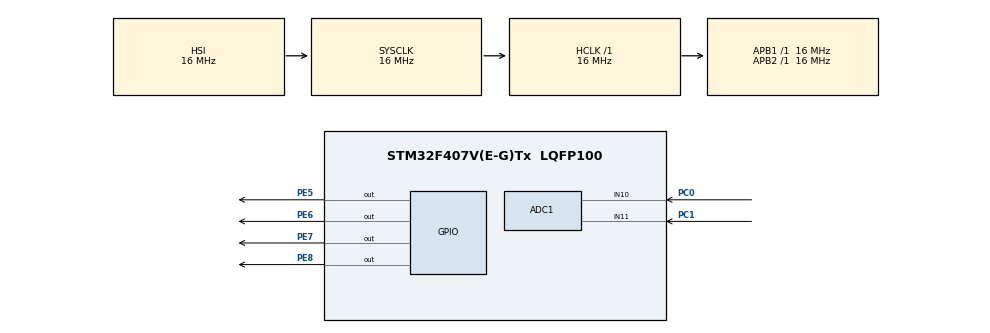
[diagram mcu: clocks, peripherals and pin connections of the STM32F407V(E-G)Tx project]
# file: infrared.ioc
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ADC1.Channel-0\#ChannelRegularConversion=ADC_CHANNEL_10
ADC1.Channel-1\#ChannelRegularConversion=ADC_CHANNEL_11
ADC1.ContinuousConvMode=ENABLE
ADC1.DMAContinuousRequests=DISABLE
ADC1.NbrOfConversion=2
ADC1.NbrOfConversionFlag=1
ADC1.Rank-0\#ChannelRegularConversion=1
ADC1.Rank-1\#ChannelRegularConversion=2
ADC1.SamplingTime-0\#ChannelRegularConversion=ADC_SAMPLETIME_3CYCLES
ADC1.SamplingTime-1\#ChannelRegularConversion=ADC_SAMPLETIME_3CYCLES
ADC1.ScanConvMode=ENABLE
ADC1.master=1
Dma.ADC1.0.Direction=DMA_PERIPH_TO_MEMORY
Dma.ADC1.0.FIFOMode=DMA_FIFOMODE_DISABLE
Dma.ADC1.0.Instance=DMA2_Stream0
Dma.ADC1.0.MemDataAlignment=DMA_MDATAALIGN_HALFWORD
Dma.ADC1.0.MemInc=DMA_MINC_ENABLE
Dma.ADC1.0.Mode=DMA_CIRCULAR
Dma.ADC1.0.PeriphDataAlignment=DMA_PDATAALIGN_HALFWORD
Dma.ADC1.0.PeriphInc=DMA_PINC_DISABLE
Dma.ADC1.0.Priority=DMA_PRIORITY_LOW
Dma.Request0=ADC1
FREERTOS.Tasks01=defaultTask,24,128,StartDefaultTask,Default,NULL,Dynamic,NULL,NULL;InfraredTask,9,128,infrared_task,Default,NULL,Dynamic,NULL,NULL;OLEDTask,8,128,oled_task,Default,NULL,Dynamic,NULL,NULL
FREERTOS.configUSE_NEWLIB_REENTRANT=1
Mcu.Family=STM32F4
Mcu.Name=STM32F407V(E-G)Tx
Mcu.Package=LQFP100
NVIC.DMA2_Stream0_IRQn=true\:5\:0\:false\:false\:true\:true\:false\:true
NVIC.PriorityGroup=NVIC_PRIORITYGROUP_4
NVIC.TIM6_DAC_IRQn=true\:15\:0\:false\:false\:true\:false\:false\:true
NVIC.TimeBase=TIM6_DAC_IRQn
NVIC.TimeBaseIP=TIM6
PC0.Signal=ADCx_IN10
PC1.Signal=ADCx_IN11
PE5.Signal=GPIO_Output
PE6.Signal=GPIO_Output
PE7.Signal=GPIO_Output
PE8.Signal=GPIO_Output
ProjectManager.HeapSize=0x200
ProjectManager.StackSize=0x400
ProjectManager.TargetToolchain=STM32CubeIDE
RCC.AHBFreq_Value=16000000
RCC.APB1Freq_Value=16000000
RCC.APB2Freq_Value=16000000
RCC.CortexFreq_Value=16000000
RCC.HSE_VALUE=25000000
RCC.HSI_VALUE=16000000
RCC.LSE_VALUE=32768
RCC.SYSCLKFreq_VALUE=16000000
RCC.VCOOutputFreq_Value=192000000
SH.ADCx_IN10.0=ADC1_IN10,IN10
SH.ADCx_IN11.0=ADC1_IN11,IN11
VP_FREERTOS_VS_CMSIS_V2.Mode=CMSIS_V2
VP_SYS_VS_tim6.Mode=TIM6
board=custom

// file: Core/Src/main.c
/* USER CODE BEGIN Header */
/**
  ******************************************************************************
  * @file           : main.c
  * @brief          : Read values from the Infrared range sensor. There are two
  * 				  main ways to do it. The first is using Scan conversion and to use a flag to indicate that
  * 				  an ADC conversion has been completed. The reading is then read,
  * 				  and a call to HAL_ADC_Start_DMA is used to start again.
  * 				  The second is to use scan conversion and continous conversion with a ping-pong buffer.
  ******************************************************************************
  * @attention
  *
  * Copyright (c) 2022 STMicroelectronics.
  * All rights reserved.
  *
  * This software is licensed under terms that can be found in the LICENSE file
  * in the root directory of this software component.
  * If no LICENSE file comes with this software, it is provided AS-IS.
  *
  ******************************************************************************
  */
/* USER CODE END Header */
#include "main.h"
#include "cmsis_os.h"

/* USER CODE BEGIN Includes */
#include <string.h>
#include <stdio.h>
#include <math.h>
#include "oled.h"
/* USER CODE END Includes */

/* USER CODE BEGIN PD */
#define ADC_REF 3.3
#define ADC_STEPS 4096
/* USER CODE END PD */

ADC_HandleTypeDef hadc1;
DMA_HandleTypeDef hdma_adc1;

/* Definitions for defaultTask */
osThreadId_t defaultTaskHandle;
const osThreadAttr_t defaultTask_attributes = {
  .name = "defaultTask",
  .stack_size = 128 * 4,
  .priority = (osPriority_t) osPriorityNormal,
};
/* Definitions for InfraredTask */
osThreadId_t InfraredTaskHandle;
const osThreadAttr_t InfraredTask_attributes = {
  .name = "InfraredTask",
  .stack_size = 128 * 4,
  .priority = (osPriority_t) osPriorityLow1,
};
/* Definitions for OLEDTask */
osThreadId_t OLEDTaskHandle;
const osThreadAttr_t OLEDTask_attributes = {
  .name = "OLEDTask",
  .stack_size = 128 * 4,
  .priority = (osPriority_t) osPriorityLow,
};

void SystemClock_Config(void);
static void MX_GPIO_Init(void);
static void MX_DMA_Init(void);
static void MX_ADC1_Init(void);
void StartDefaultTask(void *argument);
void infrared_task(void *argument);
void oled_task(void *argument);

/* USER CODE BEGIN 0 */
char buf[50];
uint8_t uart_buf_len;

volatile uint16_t adcResultsDMA[20];
volatile uint16_t ir_sensor_a_sum;
volatile uint16_t ir_sensor_b_sum;
const int adcChannelCount = sizeof(adcResultsDMA) / sizeof(adcResultsDMA[0]);
//volatile int adcConversionComplete = 0;

//int simple_read(void)
//{
//	  HAL_ADC_Start(&hadc1);
//	  HAL_ADC_PollForConversion(&hadc1, HAL_MAX_DELAY);
//	  uint16_t raw = HAL_ADC_GetValue(&hadc1);
//	  float voltage = raw * ADC_REF / ADC_STEPS;
//	  return (int)(29.988 * pow(voltage, -1.173));
//}

uint16_t adc_to_distance(uint16_t raw)
{
	  float voltage = raw * ADC_REF / ADC_STEPS;
	  return (uint16_t)(29.988 * pow(voltage, -1.173));
}

/* USER CODE END 0 */

int main(void)
{

  /* MCU Configuration--------------------------------------------------------*/

  /* Reset of all peripherals, Initializes the Flash interface and the Systick. */
  HAL_Init();

  /* Configure the system clock */
  SystemClock_Config();

  /* Initialize all configured peripherals */
  MX_GPIO_Init();
  MX_DMA_Init();
  MX_ADC1_Init();

  /* Init scheduler */
  osKernelInitialize();

  /* Create the thread(s) */
  /* creation of defaultTask */
  defaultTaskHandle = osThreadNew(StartDefaultTask, NULL, &defaultTask_attributes);

  /* creation of InfraredTask */
  InfraredTaskHandle = osThreadNew(infrared_task, NULL, &InfraredTask_attributes);

  /* creation of OLEDTask */
  OLEDTaskHandle = osThreadNew(oled_task, NULL, &OLEDTask_attributes);

  /* Start scheduler */
  osKernelStart();

  /* We should never get here as control is now taken by the scheduler */
  /* Infinite loop */
  while (1)
  {

  }
}

void SystemClock_Config(void)
{
  RCC_OscInitTypeDef RCC_OscInitStruct = {0};
  RCC_ClkInitTypeDef RCC_ClkInitStruct = {0};

  /** Configure the main internal regulator output voltage
  */
  __HAL_RCC_PWR_CLK_ENABLE();
  __HAL_PWR_VOLTAGESCALING_CONFIG(PWR_REGULATOR_VOLTAGE_SCALE1);
  /** Initializes the RCC Oscillators according to the specified parameters
  * in the RCC_OscInitTypeDef structure.
  */
  RCC_OscInitStruct.OscillatorType = RCC_OSCILLATORTYPE_HSI;
  RCC_OscInitStruct.HSIState = RCC_HSI_ON;
  RCC_OscInitStruct.HSICalibrationValue = RCC_HSICALIBRATION_DEFAULT;
  RCC_OscInitStruct.PLL.PLLState = RCC_PLL_NONE;
  if (HAL_RCC_OscConfig(&RCC_OscInitStruct) != HAL_OK)
  {
    Error_Handler();
  }
  /** Initializes the CPU, AHB and APB buses clocks
  */
  RCC_ClkInitStruct.ClockType = RCC_CLOCKTYPE_HCLK|RCC_CLOCKTYPE_SYSCLK
                              |RCC_CLOCKTYPE_PCLK1|RCC_CLOCKTYPE_PCLK2;
  RCC_ClkInitStruct.SYSCLKSource = RCC_SYSCLKSOURCE_HSI;
  RCC_ClkInitStruct.AHBCLKDivider = RCC_SYSCLK_DIV1;
  RCC_ClkInitStruct.APB1CLKDivider = RCC_HCLK_DIV1;
  RCC_ClkInitStruct.APB2CLKDivider = RCC_HCLK_DIV1;

  if (HAL_RCC_ClockConfig(&RCC_ClkInitStruct, FLASH_LATENCY_0) != HAL_OK)
  {
    Error_Handler();
  }
}

static void MX_ADC1_Init(void)
{

  ADC_ChannelConfTypeDef sConfig = {0};

  /** Configure the global features of the ADC (Clock, Resolution, Data Alignment and number of conversion)
  */
  hadc1.Instance = ADC1;
  hadc1.Init.ClockPrescaler = ADC_CLOCK_SYNC_PCLK_DIV2;
  hadc1.Init.Resolution = ADC_RESOLUTION_12B;
  hadc1.Init.ScanConvMode = ENABLE;
  hadc1.Init.ContinuousConvMode = ENABLE;
  hadc1.Init.DiscontinuousConvMode = DISABLE;
  hadc1.Init.ExternalTrigConvEdge = ADC_EXTERNALTRIGCONVEDGE_NONE;
  hadc1.Init.ExternalTrigConv = ADC_SOFTWARE_START;
  hadc1.Init.DataAlign = ADC_DATAALIGN_RIGHT;
  hadc1.Init.NbrOfConversion = 2;
  hadc1.Init.DMAContinuousRequests = DISABLE;
  hadc1.Init.EOCSelection = ADC_EOC_SINGLE_CONV;
  if (HAL_ADC_Init(&hadc1) != HAL_OK)
  {
    Error_Handler();
  }
  /** Configure for the selected ADC regular channel its corresponding rank in the sequencer and its sample time.
  */
  sConfig.Channel = ADC_CHANNEL_10;
  sConfig.Rank = 1;
  sConfig.SamplingTime = ADC_SAMPLETIME_3CYCLES;
  if (HAL_ADC_ConfigChannel(&hadc1, &sConfig) != HAL_OK)
  {
    Error_Handler();
  }
  /** Configure for the selected ADC regular channel its corresponding rank in the sequencer and its sample time.
  */
  sConfig.Channel = ADC_CHANNEL_11;
  sConfig.Rank = 2;
  if (HAL_ADC_ConfigChannel(&hadc1, &sConfig) != HAL_OK)
  {
    Error_Handler();
  }

}

static void MX_DMA_Init(void)
{

  /* DMA controller clock enable */
  __HAL_RCC_DMA2_CLK_ENABLE();

  /* DMA interrupt init */
  /* DMA2_Stream0_IRQn interrupt configuration */
  HAL_NVIC_SetPriority(DMA2_Stream0_IRQn, 5, 0);
  HAL_NVIC_EnableIRQ(DMA2_Stream0_IRQn);

}

static void MX_GPIO_Init(void)
{
  GPIO_InitTypeDef GPIO_InitStruct = {0};

  /* GPIO Ports Clock Enable */
  __HAL_RCC_GPIOE_CLK_ENABLE();
  __HAL_RCC_GPIOC_CLK_ENABLE();

  /*Configure GPIO pin Output Level */
  HAL_GPIO_WritePin(GPIOE, GPIO_PIN_5|GPIO_PIN_6|GPIO_PIN_7|GPIO_PIN_8, GPIO_PIN_RESET);

  /*Configure GPIO pins : PE5 PE6 PE7 PE8 */
  GPIO_InitStruct.Pin = GPIO_PIN_5|GPIO_PIN_6|GPIO_PIN_7|GPIO_PIN_8;
  GPIO_InitStruct.Mode = GPIO_MODE_OUTPUT_PP;
  GPIO_InitStruct.Pull = GPIO_NOPULL;
  GPIO_InitStruct.Speed = GPIO_SPEED_FREQ_LOW;
  HAL_GPIO_Init(GPIOE, &GPIO_InitStruct);

}

/* USER CODE BEGIN 4 */

void HAL_ADC_ConvHalfCpltCallback(ADC_HandleTypeDef* hadc)
{
	ir_sensor_a_sum = adcResultsDMA[0] + adcResultsDMA[2] + adcResultsDMA[4] + adcResultsDMA[6] + adcResultsDMA[8];
	ir_sensor_b_sum = adcResultsDMA[1] + adcResultsDMA[3] + adcResultsDMA[5] + adcResultsDMA[7] + adcResultsDMA[9];
}

void HAL_ADC_ConvCpltCallback(ADC_HandleTypeDef* hadc)
{
	ir_sensor_a_sum = adcResultsDMA[10] + adcResultsDMA[12] + adcResultsDMA[14] + adcResultsDMA[16] + adcResultsDMA[18];
	ir_sensor_b_sum = adcResultsDMA[11] + adcResultsDMA[13] + adcResultsDMA[15] + adcResultsDMA[17] + adcResultsDMA[19];
}
/* USER CODE END 4 */

void StartDefaultTask(void *argument)
{
  for(;;)
  {
    osDelay(1);
  }
}

void infrared_task(void *argument)
{
  /* USER CODE BEGIN infrared_task */
  /* Infinite loop */
  for(;;)
  {
	// Check last parameter is correct.
	HAL_ADC_Start_DMA(&hadc1, (uint32_t*)adcResultsDMA, adcChannelCount);
    osDelay(500);
  }
  /* USER CODE END infrared_task */
}

void oled_task(void *argument)
{
  /* USER CODE BEGIN oled_task */
  OLED_Init();
  int distances[2];
  char buf[40];
  /* Infinite loop */
  for(;;)
  {
	distances[0] = adc_to_distance((uint16_t)(ir_sensor_a_sum / 5));
	distances[1] = adc_to_distance((uint16_t)(ir_sensor_b_sum / 5));
	sprintf(buf, "%5d %5d\0", (int)distances[0], (int)distances[1]);
	OLED_ShowString(0, 0, (uint8_t*)buf);
	OLED_Refresh_Gram();
    osDelay(500);
  }
  /* USER CODE END oled_task */
}

void HAL_TIM_PeriodElapsedCallback(TIM_HandleTypeDef *htim)
{
  if (htim->Instance == TIM6) {
    HAL_IncTick();
  }
}

void Error_Handler(void)
{
  __disable_irq();
  while (1)
  {
  }
}
